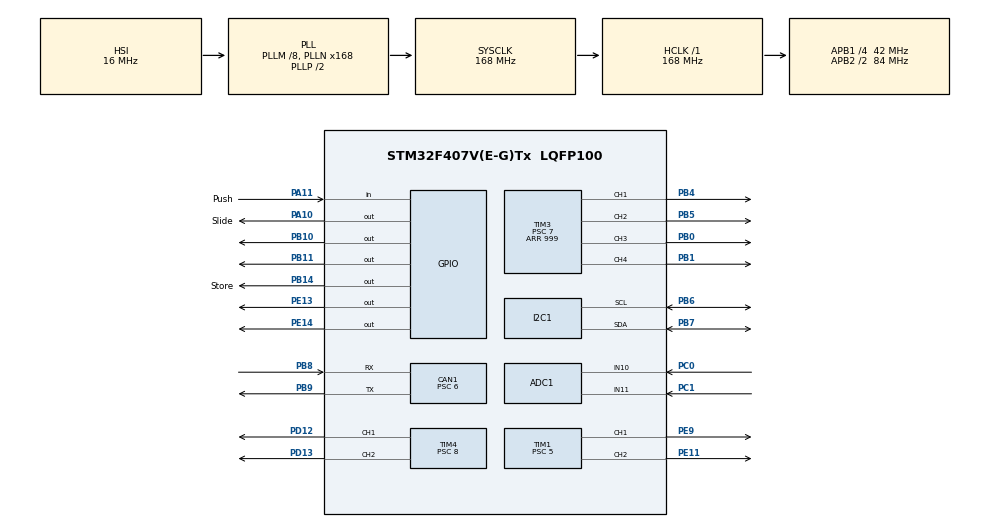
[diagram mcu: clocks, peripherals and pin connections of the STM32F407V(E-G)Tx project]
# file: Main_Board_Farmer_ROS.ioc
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ADC1.Channel-0\#ChannelRegularConversion=ADC_CHANNEL_10
ADC1.Channel-1\#ChannelRegularConversion=ADC_CHANNEL_11
ADC1.ContinuousConvMode=ENABLE
ADC1.NbrOfConversion=2
ADC1.NbrOfConversionFlag=1
ADC1.Rank-0\#ChannelRegularConversion=1
ADC1.Rank-1\#ChannelRegularConversion=2
ADC1.SamplingTime-0\#ChannelRegularConversion=ADC_SAMPLETIME_3CYCLES
ADC1.SamplingTime-1\#ChannelRegularConversion=ADC_SAMPLETIME_3CYCLES
ADC1.master=1
CAN1.BS1=CAN_BS1_4TQ
CAN1.BS2=CAN_BS2_2TQ
CAN1.CalculateBaudRate=1000000
CAN1.CalculateTimeBit=1000
CAN1.CalculateTimeQuantum=142.85714285714286
CAN1.Prescaler=6
Dma.ADC1.0.Direction=DMA_PERIPH_TO_MEMORY
Dma.ADC1.0.FIFOMode=DMA_FIFOMODE_DISABLE
Dma.ADC1.0.Instance=DMA2_Stream0
Dma.ADC1.0.MemDataAlignment=DMA_MDATAALIGN_HALFWORD
Dma.ADC1.0.MemInc=DMA_MINC_ENABLE
Dma.ADC1.0.Mode=DMA_NORMAL
Dma.ADC1.0.PeriphDataAlignment=DMA_PDATAALIGN_HALFWORD
Dma.ADC1.0.PeriphInc=DMA_PINC_DISABLE
Dma.ADC1.0.Priority=DMA_PRIORITY_LOW
Dma.Request0=ADC1
FREERTOS.Tasks01=Concept_Task,24,1200,Concept_Init,Default,NULL,Dynamic,NULL,NULL;Store_Task,24,1000,Store_Init,Default,NULL,Dynamic,NULL,NULL;Prepare_Task,24,1000,Prepare_Init,Default,NULL,Dynamic,NULL,NULL
I2C1.I2C_Mode=I2C_Fast
Mcu.Family=STM32F4
Mcu.Name=STM32F407V(E-G)Tx
Mcu.Package=LQFP100
NVIC.CAN1_RX0_IRQn=true\:5\:0\:false\:false\:true\:true\:true\:true\:true
NVIC.DMA2_Stream0_IRQn=true\:5\:0\:false\:false\:true\:true\:false\:true\:true
NVIC.PriorityGroup=NVIC_PRIORITYGROUP_4
NVIC.TIM2_IRQn=true\:5\:0\:false\:false\:true\:true\:true\:true\:true
NVIC.TIM5_IRQn=true\:5\:0\:false\:false\:true\:true\:true\:true\:true
NVIC.TIM6_DAC_IRQn=true\:15\:0\:false\:false\:true\:false\:false\:true\:true
NVIC.TimeBase=TIM6_DAC_IRQn
NVIC.TimeBaseIP=TIM6
PA10.GPIO_Label=Slide
PA10.Signal=GPIO_Output
PA11.GPIO_Label=Push
PA11.Signal=GPIO_Input
PA13.Mode=Serial_Wire
PA13.Signal=SYS_JTMS-SWDIO
PA14.Mode=Serial_Wire
PA14.Signal=SYS_JTCK-SWCLK
PA15.Signal=S_TIM2_CH1_ETR
PB0.Signal=S_TIM3_CH3
PB1.Signal=S_TIM3_CH4
PB10.Signal=GPIO_Output
PB11.Signal=GPIO_Output
PB14.GPIO_Label=Store
PB14.Signal=GPIO_Output
PB3.Signal=S_TIM2_CH2
PB4.Signal=S_TIM3_CH1
PB5.Signal=S_TIM3_CH2
PB6.Mode=I2C
PB6.Signal=I2C1_SCL
PB7.Mode=I2C
PB7.Signal=I2C1_SDA
PB8.Mode=CAN_Activate
PB8.Signal=CAN1_RX
PB9.Mode=CAN_Activate
PB9.Signal=CAN1_TX
PC0.Signal=ADCx_IN10
PC1.Signal=ADCx_IN11
PD12.Signal=S_TIM4_CH1
PD13.Signal=S_TIM4_CH2
PE11.Signal=S_TIM1_CH2
PE13.Signal=GPIO_Output
PE14.Signal=GPIO_Output
PE9.Signal=S_TIM1_CH1
PH0-OSC_IN.Mode=HSE-External-Oscillator
PH0-OSC_IN.Signal=RCC_OSC_IN
PH1-OSC_OUT.Mode=HSE-External-Oscillator
PH1-OSC_OUT.Signal=RCC_OSC_OUT
ProjectManager.HeapSize=0x200
ProjectManager.StackSize=0x400
ProjectManager.TargetToolchain=STM32CubeIDE
RCC.48MHZClocksFreq_Value=84000000
RCC.AHBFreq_Value=168000000
RCC.APB1CLKDivider=RCC_HCLK_DIV4
RCC.APB1Freq_Value=42000000
RCC.APB1TimFreq_Value=84000000
RCC.APB2CLKDivider=RCC_HCLK_DIV2
RCC.APB2Freq_Value=84000000
RCC.APB2TimFreq_Value=168000000
RCC.CortexFreq_Value=168000000
RCC.HCLKFreq_Value=168000000
RCC.HSE_VALUE=25000000
RCC.HSI_VALUE=16000000
RCC.LSE_VALUE=32768
RCC.PLLM=8
RCC.PLLN=168
RCC.SYSCLKFreq_VALUE=168000000
RCC.SYSCLKSource=RCC_SYSCLKSOURCE_PLLCLK
RCC.VCOOutputFreq_Value=336000000
SH.ADCx_IN10.0=ADC1_IN10,IN10
SH.ADCx_IN11.0=ADC1_IN11,IN11
SH.S_TIM1_CH1.0=TIM1_CH1,PWM Generation1 CH1
SH.S_TIM1_CH2.0=TIM1_CH2,PWM Generation2 CH2
SH.S_TIM2_CH1_ETR.0=TIM2_CH1
SH.S_TIM2_CH2.0=TIM2_CH2
SH.S_TIM3_CH1.0=TIM3_CH1,PWM Generation1 CH1
SH.S_TIM3_CH2.0=TIM3_CH2,PWM Generation2 CH2
SH.S_TIM3_CH3.0=TIM3_CH3,PWM Generation3 CH3
SH.S_TIM3_CH4.0=TIM3_CH4,PWM Generation4 CH4
SH.S_TIM4_CH1.0=TIM4_CH1,PWM Generation1 CH1
SH.S_TIM4_CH2.0=TIM4_CH2,PWM Generation2 CH2
TIM1.AutoReloadPreload=TIM_AUTORELOAD_PRELOAD_ENABLE
TIM1.Channel-PWM\ Generation1\ CH1=TIM_CHANNEL_1
TIM1.Channel-PWM\ Generation2\ CH2=TIM_CHANNEL_2
TIM1.Period=999
TIM1.Prescaler=5
TIM2.AutoReloadPreload=TIM_AUTORELOAD_PRELOAD_ENABLE
TIM2.Period=9999
TIM2.Prescaler=83
TIM3.AutoReloadPreload=TIM_AUTORELOAD_PRELOAD_ENABLE
TIM3.Channel-PWM\ Generation1\ CH1=TIM_CHANNEL_1
TIM3.Channel-PWM\ Generation2\ CH2=TIM_CHANNEL_2
TIM3.Channel-PWM\ Generation3\ CH3=TIM_CHANNEL_3
TIM3.Channel-PWM\ Generation4\ CH4=TIM_CHANNEL_4
TIM3.Period=999
TIM3.Prescaler=7
TIM4.AutoReloadPreload=TIM_AUTORELOAD_PRELOAD_ENABLE
TIM4.Channel-PWM\ Generation1\ CH1=TIM_CHANNEL_1
TIM4.Channel-PWM\ Generation2\ CH2=TIM_CHANNEL_2
TIM4.Period=999
TIM4.Prescaler=8
TIM5.AutoReloadPreload=TIM_AUTORELOAD_PRELOAD_ENABLE
TIM5.Period=9999
TIM5.Prescaler=83
VP_FREERTOS_VS_CMSIS_V2.Mode=CMSIS_V2
VP_SYS_VS_tim6.Mode=TIM6
VP_TIM2_VS_ClockSourceINT.Mode=Internal
VP_TIM5_VS_ClockSourceINT.Mode=Internal
board=custom

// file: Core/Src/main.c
/* USER CODE BEGIN Header */
/**
  ******************************************************************************
  * @file           : main.c
  * @brief          : Main program body
  ******************************************************************************
  * @attention
  *
  * Copyright (c) 2024 STMicroelectronics.
  * All rights reserved.
  *
  * This software is licensed under terms that can be found in the LICENSE file
  * in the root directory of this software component.
  * If no LICENSE file comes with this software, it is provided AS-IS.
  *
  ******************************************************************************
  */
/* USER CODE END Header */
#include "main.h"
#include "cmsis_os.h"
#include "adc.h"
#include "can.h"
#include "dma.h"
#include "i2c.h"
#include "tim.h"
#include "gpio.h"

/* USER CODE BEGIN Includes */
#include "bno055.h"
#include "bno055_stm32.h"
#include "stdlib.h"
#include "math.h"
/* USER CODE END Includes */

/* USER CODE BEGIN PTD */
CAN_RxHeaderTypeDef RxHeader;
CAN_TxHeaderTypeDef TxHeader;
typedef struct{
	uint32_t counter;
	uint32_t new_counter;
	uint8_t counter_status;
	float speed;
	float rdps;
	double distant;
}Encoder;
typedef struct {
	double Roll;
	double Pitch;
	double Yaw;
}Rotation;

Encoder encoderX;
Encoder encoderY;
Rotation Angle;
bno055_vector_t Q;
/* USER CODE END PTD */

/* USER CODE BEGIN PD */
#define PI 3.1456
#define r 0.03 //[Radius m]
#define CPR_X 1440
#define CPR_Y 1440
#define Rotary1 0
#define Rotary2 1
#define sampling_time  10 //[10ms]
#define dt 0.01
/* USER CODE END PD */

/* USER CODE BEGIN PV */
//** CAN VARIABLE ***//
uint8_t RxData[8];
uint8_t TxData[8];
uint32_t TxMailbox;
uint8_t flag;
float RxData1 = 0;
float RxData2 = 0;
float RxData3 = 0;
float RxData4 = 0;
uint8_t datacheck = 0;
uint8_t cntt;

// SENSOR FEEDBACK CAN
uint16_t AD_RES[2];
uint8_t laserX;
uint8_t laserY;
uint16_t rotaryX;
uint16_t rotaryY;
uint16_t imu;

// SENSOR FEEBACK READ
float W1;
float W2;
float theta;
double sinr_cosp;
double cosr_cosp;
double sinp;
double siny_cosp;
double cosy_cosp;
double angle;
float LaserX;
float LaserY;
extern float motor_air;
uint8_t Pick;
uint16_t Shooter_Speed;
uint8_t Store;
uint8_t Position;
uint8_t StateP;
uint8_t Prepare;
//uint8_t state;

// CHECK TIMER INTERRUPT WORK OR NOT
int c;
int j;
/* USER CODE END PV */

void SystemClock_Config(void);
void MX_FREERTOS_Init(void);
/* USER CODE BEGIN PFP */
float map(float Input, float Min_Input , float Max_Input ,float Min_Output, float Max_Output){

	return (float) ((Input - Min_Input) * (Max_Output - Min_Output) / (Max_Input - Min_Input) + Min_Output);
}
void read_encoder(Encoder *enc, TIM_HandleTypeDef* timer, float CPR){
	enc->new_counter = __HAL_TIM_GET_COUNTER(timer);
	enc->counter_status = __HAL_TIM_IS_TIM_COUNTING_DOWN(timer);
	int16_t count_change = enc->new_counter - enc->counter;
	if(enc->counter_status && count_change <0){
		count_change += 65536;
	}else if (!enc->counter_status && count_change > 0){
		count_change -= 65536;
	}
	enc->counter = enc->new_counter;
	enc->counter_status = (count_change >=0);
	enc->speed = (float)count_change*1000.0f/(CPR_X * sampling_time);
	enc->rdps = (float)count_change*2*PI*1000.0f/(CPR_X * sampling_time);
}
void HAL_CAN_RxFifo0MsgPendingCallback(CAN_HandleTypeDef *hcan) {
	HAL_CAN_GetRxMessage(hcan, CAN_RX_FIFO0, &RxHeader, RxData);
	cntt++;

		if (RxHeader.StdId == 0x444)
			{

				Pick= RxData[0];
				Store = RxData[1]; // count 0 to 1 (0 open and 1 close)
				RxData1 = (RxData[2] << 8) | RxData[3];
				Shooter_Speed = map(RxData1, 0, 65535, 0, 1000); // count (0 to 3)
				Prepare = RxData[4];
			}
		else if (RxHeader.StdId == 0x111)
		{
			flag =1;
		}

}

/* USER CODE END PFP */

int main(void)
{

  /* MCU Configuration--------------------------------------------------------*/

  /* Reset of all peripherals, Initializes the Flash interface and the Systick. */
  HAL_Init();

  /* Configure the system clock */
  SystemClock_Config();

  /* Initialize all configured peripherals */
  MX_GPIO_Init();
  MX_DMA_Init();
  MX_ADC1_Init();
  MX_CAN1_Init();
  MX_I2C1_Init();
  MX_TIM3_Init();
  MX_TIM5_Init();
  MX_TIM1_Init();
  MX_TIM4_Init();
  MX_TIM2_Init();
  /* USER CODE BEGIN 2 */

  //*** CAN CONFIGURE ***//
	HAL_CAN_Start(&hcan1);
	HAL_CAN_ActivateNotification(&hcan1, CAN_IT_RX_FIFO0_MSG_PENDING);
	TxHeader.DLC = 8; // data length
	TxHeader.IDE = CAN_ID_STD;
	TxHeader.RTR = CAN_RTR_DATA;
	TxHeader.StdId = 0x333; //Id 0x7FF

	// TIMER Internal clock
	HAL_TIM_Base_Start_IT(&htim2);
	HAL_TIM_Base_Start_IT(&htim5);
	HAL_TIM_PWM_Start(&htim1, TIM_CHANNEL_1);
	HAL_TIM_PWM_Start(&htim1, TIM_CHANNEL_2);
	HAL_TIM_PWM_Start(&htim3, TIM_CHANNEL_1); // Motor shooter
	HAL_TIM_PWM_Start(&htim3, TIM_CHANNEL_2);
	HAL_TIM_PWM_Start(&htim3, TIM_CHANNEL_3); // Motor shooter
	HAL_TIM_PWM_Start(&htim3, TIM_CHANNEL_4); // Motor Store

	// IMU
//	bno055_assignI2C(&hi2c1);
//	bno055_setup();
//	bno055_setOperationModeNDOF();

	// Read Rotary encoder
//	HAL_TIM_Encoder_Start(&htim2, TIM_CHANNEL_ALL);
//	HAL_TIM_Encoder_Start(&htim4, TIM_CHANNEL_ALL);
  /* USER CODE END 2 */

  /* Init scheduler */
  osKernelInitialize();  /* Call init function for freertos objects (in freertos.c) */
  MX_FREERTOS_Init();

  /* Start scheduler */
  osKernelStart();
  /* We should never get here as control is now taken by the scheduler */
  /* Infinite loop */
  while (1)
  {

  }
}

void SystemClock_Config(void)
{
  RCC_OscInitTypeDef RCC_OscInitStruct = {0};
  RCC_ClkInitTypeDef RCC_ClkInitStruct = {0};

  /** Configure the main internal regulator output voltage
  */
  __HAL_RCC_PWR_CLK_ENABLE();
  __HAL_PWR_VOLTAGESCALING_CONFIG(PWR_REGULATOR_VOLTAGE_SCALE1);

  /** Initializes the RCC Oscillators according to the specified parameters
  * in the RCC_OscInitTypeDef structure.
  */
  RCC_OscInitStruct.OscillatorType = RCC_OSCILLATORTYPE_HSI;
  RCC_OscInitStruct.HSIState = RCC_HSI_ON;
  RCC_OscInitStruct.HSICalibrationValue = RCC_HSICALIBRATION_DEFAULT;
  RCC_OscInitStruct.PLL.PLLState = RCC_PLL_ON;
  RCC_OscInitStruct.PLL.PLLSource = RCC_PLLSOURCE_HSI;
  RCC_OscInitStruct.PLL.PLLM = 8;
  RCC_OscInitStruct.PLL.PLLN = 168;
  RCC_OscInitStruct.PLL.PLLP = RCC_PLLP_DIV2;
  RCC_OscInitStruct.PLL.PLLQ = 4;
  if (HAL_RCC_OscConfig(&RCC_OscInitStruct) != HAL_OK)
  {
    Error_Handler();
  }

  /** Initializes the CPU, AHB and APB buses clocks
  */
  RCC_ClkInitStruct.ClockType = RCC_CLOCKTYPE_HCLK|RCC_CLOCKTYPE_SYSCLK
                              |RCC_CLOCKTYPE_PCLK1|RCC_CLOCKTYPE_PCLK2;
  RCC_ClkInitStruct.SYSCLKSource = RCC_SYSCLKSOURCE_PLLCLK;
  RCC_ClkInitStruct.AHBCLKDivider = RCC_SYSCLK_DIV1;
  RCC_ClkInitStruct.APB1CLKDivider = RCC_HCLK_DIV4;
  RCC_ClkInitStruct.APB2CLKDivider = RCC_HCLK_DIV2;

  if (HAL_RCC_ClockConfig(&RCC_ClkInitStruct, FLASH_LATENCY_5) != HAL_OK)
  {
    Error_Handler();
  }
}

void HAL_TIM_PeriodElapsedCallback(TIM_HandleTypeDef *htim)
{
  /* USER CODE BEGIN Callback 0 */
	if (htim->Instance == TIM5) {

		if (motor_air > 10) {
			TIM1->CCR1 = motor_air;
			TIM1->CCR2 = 0;
		} else if (motor_air < -10) {
			TIM1->CCR1 = 0;
			TIM1->CCR2 = -1 * motor_air;
		} else {
			TIM1->CCR1 = 0;
			TIM1->CCR2 = 0;
		}
		if (Shooter_Speed>100)
		{
			TIM3->CCR3 = Shooter_Speed;
			TIM3->CCR4 = 0;
			TIM3->CCR1 = 0;
			TIM3->CCR2 = 600;
		}
		else
		{
			TIM3->CCR1 = 0;
		    TIM3->CCR2 = 0;
			TIM3->CCR3 = 0;
			TIM3->CCR4 = 0;
		}
//		Q = bno055_getVectorQuaternion();
//		// yaw (z-axis rotation)
//		siny_cosp = 2 * (Q.w * Q.z + Q.x * Q.y);
//		cosy_cosp = 1 - 2 * (Q.y * Q.y + Q.z * Q.z);
//		Angle.Yaw = atan2(siny_cosp, cosy_cosp);
//		theta = Angle.Yaw;
		HAL_ADC_Start_DMA(&hadc1, &AD_RES, 2);
		LaserX = ((AD_RES[0] *0.01416) + 0.1963)/10; //aready
		LaserY = ((AD_RES[1] *0.01289) + 0.3364)/10;
		j++;
	}
	if (htim->Instance == TIM2) {
		imu = map(theta, -3.14159, 3.14159, 0, 65535);
		TxData[0] = ((AD_RES[0] & 0xFF00) >> 8);
		TxData[1] = (AD_RES[0] & 0x00FF);
		TxData[2] = ((AD_RES[1] & 0xFF00) >> 8);
		TxData[3] = (AD_RES[1] & 0x00FF);
//		TxData[4] = ((imu & 0xFF00) >> 8);
//		TxData[5] = (imu & 0x00FF);
		if (flag==1)
		{
		HAL_CAN_AddTxMessage(&hcan1, &TxHeader, TxData, &TxMailbox);
		flag = 0;
		}
		c++;
	}

  /* USER CODE END Callback 0 */
  if (htim->Instance == TIM6) {
    HAL_IncTick();
  }
}

void Error_Handler(void)
{
  __disable_irq();
  while (1)
  {
  }
}

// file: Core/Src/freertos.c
/* USER CODE BEGIN Header */
/**
  ******************************************************************************
  * File Name          : freertos.c
  * Description        : Code for freertos applications
  ******************************************************************************
  * @attention
  *
  * Copyright (c) 2024 STMicroelectronics.
  * All rights reserved.
  *
  * This software is licensed under terms that can be found in the LICENSE file
  * in the root directory of this software component.
  * If no LICENSE file comes with this software, it is provided AS-IS.
  *
  ******************************************************************************
  */
/* USER CODE END Header */

#include "FreeRTOS.h"
#include "task.h"
#include "main.h"
#include "cmsis_os.h"

/* USER CODE BEGIN Variables */
extern uint8_t Position;
uint8_t state;
int k;
float motor_air;
uint8_t catch;
extern uint8_t Pick;
extern uint8_t Store;
extern uint8_t Prepare;
/* USER CODE END Variables */
/* Definitions for Concept_Task */
osThreadId_t Concept_TaskHandle;
const osThreadAttr_t Concept_Task_attributes = {
  .name = "Concept_Task",
  .stack_size = 1200 * 4,
  .priority = (osPriority_t) osPriorityNormal,
};
/* Definitions for Store_Task */
osThreadId_t Store_TaskHandle;
const osThreadAttr_t Store_Task_attributes = {
  .name = "Store_Task",
  .stack_size = 1000 * 4,
  .priority = (osPriority_t) osPriorityNormal,
};
/* Definitions for Prepare_Task */
osThreadId_t Prepare_TaskHandle;
const osThreadAttr_t Prepare_Task_attributes = {
  .name = "Prepare_Task",
  .stack_size = 1000 * 4,
  .priority = (osPriority_t) osPriorityNormal,
};

void Concept_Init(void *argument);
void Store_Init(void *argument);
void Prepare_Init(void *argument);

void MX_FREERTOS_Init(void); /* (MISRA C 2004 rule 8.1) */

void MX_FREERTOS_Init(void) {

  /* Create the thread(s) */
  /* creation of Concept_Task */
  Concept_TaskHandle = osThreadNew(Concept_Init, NULL, &Concept_Task_attributes);

  /* creation of Store_Task */
  Store_TaskHandle = osThreadNew(Store_Init, NULL, &Store_Task_attributes);

  /* creation of Prepare_Task */
  Prepare_TaskHandle = osThreadNew(Prepare_Init, NULL, &Prepare_Task_attributes);

}

void Concept_Init(void *argument)
{
  /* USER CODE BEGIN Concept_Init */
  /* Infinite loop */
  for(;;)
  {
	  	if (Pick ==1 )
	  		  {
	  		 HAL_GPIO_WritePin(GPIOE, GPIO_PIN_13, 0); //grip
	  		 HAL_GPIO_WritePin(GPIOE, GPIO_PIN_14, 0);

			 // Slide
			motor_air = -500;
			osDelay(1200);
			HAL_GPIO_WritePin(GPIOB, GPIO_PIN_11, 1);
			HAL_GPIO_WritePin(GPIOB, GPIO_PIN_10, 1); //Push
			state = 0;
	  		  }
	  		  else if (Pick == 2 && state == 0)
	  		  {
	  			  HAL_GPIO_WritePin(GPIOE, GPIO_PIN_13, 1); //grip
	  			  HAL_GPIO_WritePin(GPIOE, GPIO_PIN_14, 1);
	  			  osDelay(500);
	  			motor_air = 800;
	  			osDelay(2000);
	  			motor_air = -800;
	  			osDelay(650);
	  		    motor_air = 0;
	  			state =1;
	  		  }

	  		  else if (Pick == 3 && state == 1)
	  		  {

	  			HAL_GPIO_WritePin(GPIOE, GPIO_PIN_14, 0); // releas
	  				state = 2;
	  		  }
	  		  else if (Pick == 4 && state == 2)
	  		  {
	  			HAL_GPIO_WritePin(GPIOB, GPIO_PIN_11, 0);
	  			state = 3;
	  		  }
	  		  else if (Pick == 5 && state == 3)
	  		  {

	  			HAL_GPIO_WritePin(GPIOE, GPIO_PIN_13, 0);
	  			state = 0;
	  		  }

  }
  /* USER CODE END Concept_Init */
}

void Store_Init(void *argument)
{
  /* USER CODE BEGIN Store_Init */
  /* Infinite loop */
  for(;;)
  {
	  if (Store == 1)
	  {
//		  osDelay(2000);
		  HAL_GPIO_WritePin(GPIOB, GPIO_PIN_14, 1);
//		  osDelay(1000);
	  }
	  else
	  {
		  HAL_GPIO_WritePin(GPIOB, GPIO_PIN_14, 0);
	  }
//	  else if (Store == 0)
//		{
//		  HAL_GPIO_WritePin(GPIOB, GPIO_PIN_14, 0);
//		  osDelay(500);
//		}
	  k++;

  }
  /* USER CODE END Store_Init */
}

void Prepare_Init(void *argument)
{
  /* USER CODE BEGIN Prepare_Init */
  /* Infinite loop */
  for(;;)
  {
	  if (Prepare == 1)  // Prepare rice
	  	  		  {
	  	  			motor_air = -500;
	  	  			HAL_GPIO_WritePin(GPIOE, GPIO_PIN_13, 0); //grip
	  	  		    HAL_GPIO_WritePin(GPIOE, GPIO_PIN_14, 0);
	  	  			HAL_GPIO_WritePin(GPIOB, GPIO_PIN_11, 0);
	  	  			osDelay(1500);
	  	  			HAL_GPIO_WritePin(GPIOE, GPIO_PIN_13, 1); //grip
	  	  		    HAL_GPIO_WritePin(GPIOE, GPIO_PIN_14, 1);
	  	  		  }

//    osDelay(1);
  }
  /* USER CODE END Prepare_Init */
}
